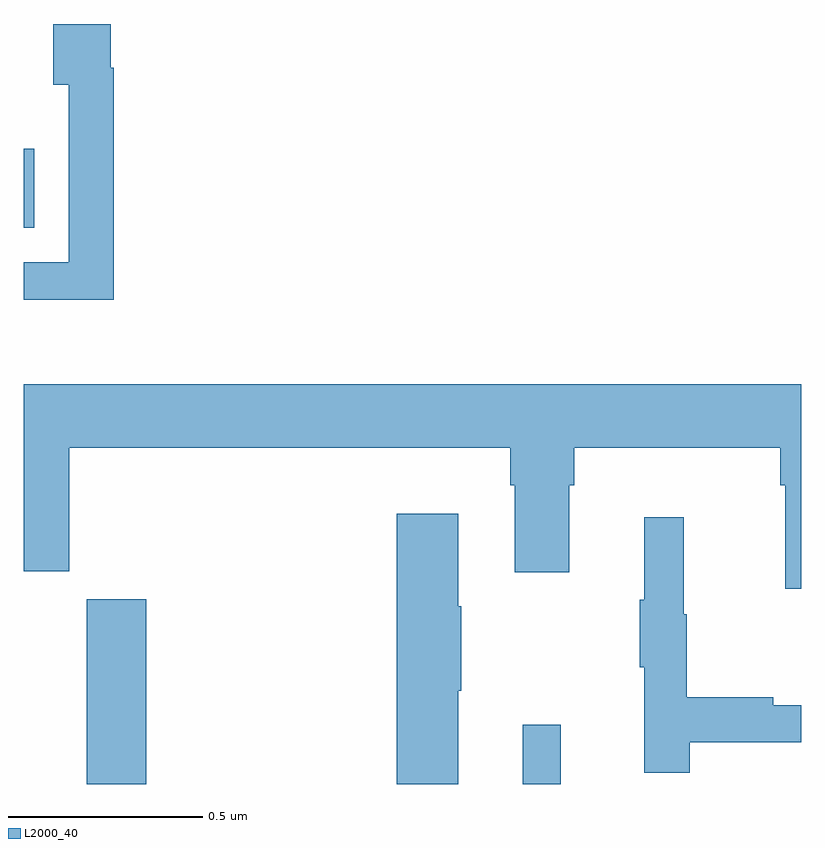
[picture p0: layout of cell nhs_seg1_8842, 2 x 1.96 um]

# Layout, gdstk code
import gdstk
lib = gdstk.Library(unit=1e-6, precision=1e-09)
def R(c, l, rs):  # rectangles x0, y0, x1, y1
    for r in rs: c.add(gdstk.rectangle(r[:2], r[2:], *l))
def P(c, l, *ps):  # polygons
    for p in ps: c.add(gdstk.Polygon(p, *l))
L2000_40 = (2000, 40)

nhs_seg1_8842 = lib.new_cell('nhs_seg1_8842')
R(nhs_seg1_8842, L2000_40, [(221.162,552.199,221.315,552.675), (222.284,552.199,222.381,552.352), (221,553.631,221.026,553.834)])
P(nhs_seg1_8842, L2000_40, [(221.231,554.042),(221.224,554.042),(221.224,554.155),(221.075,554.155),(221.075,553.999),(221.115,553.999),(221.115,553.542),(221,553.542),(221,553.445),(221.231,553.445)],
  [(223,553.228),(221,553.228),(221,552.747),(221.116,552.747),(221.116,553.064),(222.251,553.064),(222.251,552.968),(222.263,552.968),(222.263,552.744),(222.403,552.744),(222.403,552.968),(222.416,552.968),(222.416,553.064),(222.947,553.064),(222.947,552.968),(222.959,552.968),(222.959,552.702),(223,552.702)],
  [(222.118,552.439),(222.126,552.439),(222.126,552.656),(222.118,552.656),(222.118,552.895),(221.96,552.895),(221.96,552.199),(222.118,552.199)],
  [(222.713,552.306),(223,552.306),(223,552.402),(222.929,552.402),(222.929,552.422),(222.706,552.422),(222.706,552.636),(222.698,552.636),(222.698,552.886),(222.596,552.886),(222.596,552.673),(222.585,552.673),(222.585,552.499),(222.596,552.499),(222.596,552.228),(222.713,552.228)])

lib.write_gds('nhs_seg1_8842.gds')
